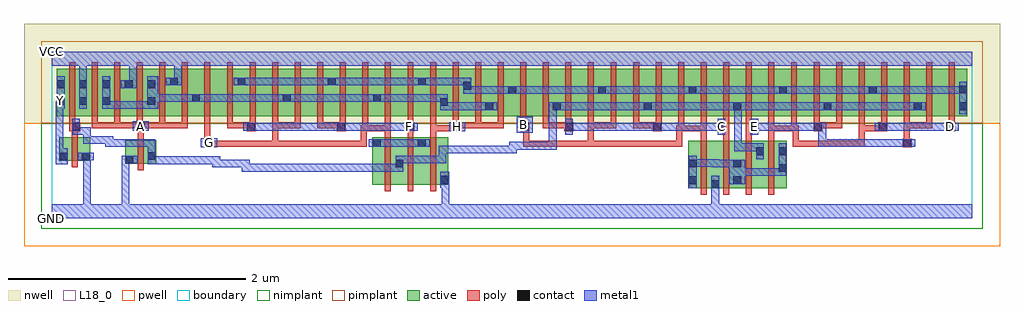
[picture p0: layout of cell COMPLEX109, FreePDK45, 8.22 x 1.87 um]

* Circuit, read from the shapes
.subckt COMPLEX109 A B C D E F G GND H VCC Y
M1 GND n1 Y VSUBS nfet w=0.2u l=0.05u
M2 n1 A GND VSUBS nfet w=0.2u l=0.05u
M3 n1 G n2 VSUBS nfet w=0.4u l=0.05u
M4 n2 F n1 VSUBS nfet w=0.4u l=0.05u
M5 GND H n2 VSUBS nfet w=0.4u l=0.05u
M6 GND B n3 VSUBS nfet w=0.4u l=0.05u
M7 n3 C GND VSUBS nfet w=0.4u l=0.05u
M8 n1 E n3 VSUBS nfet w=0.4u l=0.05u
M9 n3 D n1 VSUBS nfet w=0.4u l=0.05u
M10 VCC n1 Y n4 pfet w=0.4u l=0.05u
M11 n5 A VCC n4 pfet w=0.4u l=0.05u m=5
M12 n6 G n5 n4 pfet w=0.4u l=0.05u
M13 n7 F n6 n4 pfet w=0.4u l=0.05u
M14 n8 F n7 n4 pfet w=0.4u l=0.05u
M15 n5 G n8 n4 pfet w=0.4u l=0.05u
M16 n9 G n5 n4 pfet w=0.4u l=0.05u
M17 n7 F n9 n4 pfet w=0.4u l=0.05u
M18 n10 F n7 n4 pfet w=0.4u l=0.05u
M19 n5 G n10 n4 pfet w=0.4u l=0.05u
M20 n11 G n5 n4 pfet w=0.4u l=0.05u
M21 n7 F n11 n4 pfet w=0.4u l=0.05u
M22 n5 H n7 n4 pfet w=0.4u l=0.05u m=4
M23 n12 B n7 n4 pfet w=0.4u l=0.05u
M24 n1 C n12 n4 pfet w=0.4u l=0.05u
M25 n13 C n1 n4 pfet w=0.4u l=0.05u
M26 n7 B n13 n4 pfet w=0.4u l=0.05u
M27 n14 B n7 n4 pfet w=0.4u l=0.05u
M28 n1 C n14 n4 pfet w=0.4u l=0.05u
M29 n15 C n1 n4 pfet w=0.4u l=0.05u
M30 n7 B n15 n4 pfet w=0.4u l=0.05u
M31 n16 B n7 n4 pfet w=0.4u l=0.05u
M32 n1 C n16 n4 pfet w=0.4u l=0.05u
M33 n17 E n1 n4 pfet w=0.4u l=0.05u
M34 n7 D n17 n4 pfet w=0.4u l=0.05u
M35 n18 D n7 n4 pfet w=0.4u l=0.05u
M36 n1 E n18 n4 pfet w=0.4u l=0.05u
M37 n19 E n1 n4 pfet w=0.4u l=0.05u
M38 n7 D n19 n4 pfet w=0.4u l=0.05u
M39 n20 D n7 n4 pfet w=0.4u l=0.05u
M40 n1 E n20 n4 pfet w=0.4u l=0.05u
M41 n21 E n1 n4 pfet w=0.4u l=0.05u
M42 n7 D n21 n4 pfet w=0.4u l=0.05u
.ends

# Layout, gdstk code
import gdstk
lib = gdstk.Library(unit=1e-6, precision=1e-09)
def R(c, l, rs):  # rectangles x0, y0, x1, y1
    for r in rs: c.add(gdstk.rectangle(r[:2], r[2:], *l))
def A(c, l, x, y, w, h, nx, ny, dx, dy):  # array of equal rectangles
    R(c, l, [(x+i*dx, y+j*dy, x+i*dx+w, y+j*dy+h) for i in range(nx) for j in range(ny)])
active = (1, 0)
pwell = (2, 0)
nwell = (3, 0)
nimplant = (4, 0)
pimplant = (5, 0)
poly = (9, 0)
contact = (10, 0)
metal1 = (11, 0)
L18_0 = (18, 0)
boundary = (235, 0)

complex109 = lib.new_cell('COMPLEX109')
A(complex109, active, 0.04, 0.857, 0.075, 0.343, 3, 1, 0.38, 0)
A(complex109, active, 0.42, 0.857, 0.265, 0.4, 3, 1, 0.19, 0)
A(complex109, active, 1.405, 0.857, 0.23, 0.4, 5, 1, 0.38, 0)
A(complex109, active, 1.56, 0.857, 0.075, 0.343, 3, 1, 0.76, 0)
A(complex109, active, 1.56, 0.857, 0.225, 0.4, 4, 1, 0.38, 0)
A(complex109, active, 5.735, 0.857, 0.075, 0.213, 3, 1, 0.76, 0)
A(complex109, active, 6.345, 0.857, 0.225, 0.4, 4, 1, 0.38, 0)
A(complex109, active, 6.495, 0.857, 0.23, 0.4, 3, 1, 0.38, 0)
R(complex109, active, [(5.36,0.25,5.625,0.65), (5.55,0.25,5.81,0.65), (5.55,0.25,5.625,0.492), (5.735,0.25,6,0.65), (5.925,0.25,6.19,0.65), (5.36,0.28,5.435,0.65), (5.735,0.28,5.81,0.597), (2.7,0.282,2.965,0.682), (2.89,0.282,3.152,0.682), (3.077,0.282,3.34,0.682), (3.265,0.282,3.34,0.605), (6.115,0.315,6.19,0.65), (2.7,0.33,2.775,0.682), (3.077,0.33,3.152,0.67), (5.925,0.33,6,0.62), (2.89,0.345,2.965,0.597), (0.617,0.457,0.692,0.657), (0.617,0.457,0.877,0.657), (0.802,0.457,0.877,0.657), (0.062,0.482,0.137,0.682), (0.062,0.482,0.322,0.682), (0.247,0.482,0.322,0.682), (0.04,0.857,0.3,1.257), (0.225,0.857,0.495,1.257), (0.225,0.857,0.3,1.255), (0.61,0.857,0.685,1.255), (0.99,0.857,1.25,1.257), (0.99,0.857,1.065,1.255), (1.175,0.857,1.25,1.2), (1.175,0.857,1.405,1.257), (1.94,0.857,2.015,1.07), (2.7,0.857,2.775,1.07), (3.08,0.857,3.34,1.257), (3.265,0.857,3.34,1.07), (3.265,0.857,3.535,1.257), (3.46,0.857,3.72,1.257), (3.46,0.857,3.535,1.2), (3.645,0.857,3.72,1.07), (3.645,0.857,3.915,1.257), (3.84,0.857,3.915,1.2), (3.84,0.857,4.065,1.257), (4.065,0.857,4.29,1.257), (4.215,0.857,4.445,1.257), (4.215,0.857,4.29,1.07), (4.445,0.857,4.67,1.257), (4.595,0.857,4.67,1.2), (4.595,0.857,4.825,1.257), (4.825,0.857,5.055,1.257), (4.98,0.857,5.205,1.257), (4.98,0.857,5.055,1.07), (5.205,0.857,5.432,1.257), (5.357,0.857,5.432,1.2), (5.357,0.857,5.585,1.257), (5.585,0.857,5.81,1.257), (5.735,0.857,5.965,1.257), (5.965,0.857,6.195,1.257), (6.12,0.857,6.195,1.2), (6.12,0.857,6.345,1.257), (6.875,0.857,6.95,1.2), (7.635,0.857,7.71,1.2)])
R(complex109, pwell, [(-0.235,-0.235,7.985,0.8)])
R(complex109, nwell, [(-0.235,0.8,7.985,1.635)])
R(complex109, nimplant, [(-0.09,-0.09,7.84,0.8)])
R(complex109, pimplant, [(-0.09,0.8,7.84,1.49)])
A(complex109, poly, 5.465, 0.195, 0.05, 0.51, 4, 1, 0.19, 0)
A(complex109, poly, 2.805, 0.227, 0.05, 0.51, 3, 1, 0.19, 0)
A(complex109, poly, 2.805, 0.687, 0.05, 0.095, 3, 1, 0.19, 0)
A(complex109, poly, 0.145, 0.757, 0.05, 0.095, 6, 1, 0.19, 0)
A(complex109, poly, 1.475, 0.757, 0.05, 0.095, 6, 1, 0.19, 0)
A(complex109, poly, 3.375, 0.757, 0.05, 0.095, 10, 1, 0.19, 0)
A(complex109, poly, 4.515, 0.757, 0.05, 0.05, 3, 1, 0.19, 0)
A(complex109, poly, 6.985, 0.757, 0.05, 0.095, 4, 1, 0.19, 0)
A(complex109, poly, 0.145, 0.802, 0.05, 0.51, 40, 1, 0.19, 0)
R(complex109, poly, [(0.722,0.402,0.772,0.712), (0.167,0.427,0.217,0.737), (7.167,0.595,7.242,0.67), (1.285,0.6,1.36,0.675), (1.31,0.6,1.36,0.65), (1.31,0.6,1.36,0.65), (1.31,0.6,1.36,0.65), (1.31,0.6,1.36,0.65), (1.31,0.6,1.36,0.65), (1.31,0.6,1.36,0.65), (1.31,0.6,1.557,0.65), (1.507,0.6,1.557,0.65), (1.507,0.6,1.557,0.65), (1.507,0.6,1.557,0.65), (1.507,0.6,1.772,0.65), (1.722,0.6,1.772,0.65), (1.722,0.6,1.905,0.65), (1.855,0.6,1.905,0.65), (1.855,0.6,1.905,0.65), (1.855,0.6,1.905,0.65), (1.855,0.6,1.905,0.807), (1.855,0.6,2.052,0.65), (2.002,0.6,2.052,0.65), (2.002,0.6,2.052,0.65), (2.002,0.6,2.052,0.65), (2.002,0.6,2.185,0.65), (2.135,0.6,2.185,0.65), (2.135,0.6,2.317,0.65), (2.267,0.6,2.317,0.65), (2.267,0.6,2.317,0.65), (2.267,0.6,2.317,0.65), (2.267,0.6,2.45,0.65), (2.4,0.6,2.45,0.65), (2.4,0.6,2.65,0.65), (2.6,0.6,2.65,0.65), (2.6,0.6,2.65,0.65), (2.6,0.6,2.65,0.65), (2.6,0.6,2.65,0.65), (2.6,0.6,2.65,0.65), (2.6,0.6,2.65,0.782), (3.97,0.6,4.02,0.65), (3.97,0.6,4.02,0.65), (3.97,0.6,4.02,0.65), (3.97,0.6,4.02,0.782), (3.97,0.6,4.235,0.65), (4.185,0.6,4.235,0.65), (4.185,0.6,4.235,0.65), (4.185,0.6,4.235,0.65), (4.185,0.6,4.432,0.65), (4.382,0.6,4.432,0.65), (4.382,0.6,4.432,0.65), (4.382,0.6,4.432,0.65), (4.382,0.6,4.565,0.65), (4.515,0.6,4.565,0.65), (4.515,0.6,4.565,0.65), (4.515,0.6,4.565,0.65), (4.515,0.6,4.697,0.65), (4.515,0.6,4.565,0.807), (4.647,0.6,4.697,0.65), (4.647,0.6,4.697,0.65), (4.647,0.6,4.697,0.65), (4.647,0.6,4.977,0.65), (4.927,0.6,4.977,0.65), (4.927,0.6,5.11,0.65), (5.06,0.6,5.11,0.65), (5.06,0.6,5.11,0.65), (5.06,0.6,5.11,0.65), (5.06,0.6,5.31,0.65), (5.26,0.6,5.31,0.65), (5.26,0.6,5.31,0.65), (5.26,0.6,5.31,0.65), (5.26,0.6,5.31,0.78), (6.24,0.6,6.29,0.65), (6.24,0.6,6.29,0.65), (6.24,0.6,6.29,0.65), (6.24,0.6,6.29,0.65), (6.24,0.6,6.29,0.65), (6.24,0.6,6.422,0.65), (6.24,0.6,6.29,0.78), (6.372,0.6,6.422,0.65), (6.372,0.6,6.622,0.65), (6.572,0.6,6.622,0.65), (6.572,0.6,6.622,0.65), (6.572,0.6,6.622,0.65), (6.572,0.6,6.845,0.65), (6.795,0.6,6.845,0.65), (6.795,0.6,6.845,0.65), (6.795,0.6,6.845,0.65), (6.795,0.6,6.845,0.782), (7.175,0.62,7.225,0.807), (1.285,0.625,1.335,0.852), (5.465,0.655,5.515,0.78), (5.655,0.655,5.705,0.782), (5.845,0.655,5.895,0.782), (6.035,0.655,6.085,0.78), (0.722,0.662,0.772,0.782), (0.167,0.687,0.217,0.782), (5.26,0.73,5.31,0.78), (5.26,0.73,5.31,0.78), (5.26,0.73,5.325,0.78), (5.275,0.73,5.515,0.78), (5.275,0.73,5.325,0.852), (5.465,0.73,5.515,0.78), (5.465,0.73,5.515,0.78), (5.465,0.73,5.515,0.78), (5.465,0.73,5.515,0.852), (6.035,0.73,6.085,0.78), (6.035,0.73,6.085,0.78), (6.035,0.73,6.085,0.78), (6.035,0.73,6.275,0.78), (6.035,0.73,6.085,0.852), (6.225,0.73,6.275,0.852), (6.225,0.73,6.29,0.78), (0.145,0.732,0.24,0.807), (0.712,0.732,0.787,0.807), (1.64,0.732,1.715,0.807), (2.4,0.732,2.475,0.807), (2.6,0.732,2.665,0.782), (2.615,0.732,2.855,0.782), (2.615,0.732,2.665,0.852), (2.805,0.732,2.855,0.782), (2.805,0.732,2.855,0.782), (2.805,0.732,2.855,0.782), (2.805,0.732,2.855,0.852), (2.977,0.732,3.052,0.807), (3.185,0.732,3.235,0.782), (3.185,0.732,3.235,0.852), (3.185,0.732,3.255,0.782), (3.205,0.732,3.255,0.782), (3.205,0.732,3.425,0.782), (3.375,0.732,3.45,0.807), (3.945,0.732,4.02,0.807), (3.97,0.732,4.02,0.782), (3.97,0.732,4.02,0.782), (4.317,0.732,4.392,0.807), (5.06,0.732,5.135,0.807), (5.602,0.732,5.705,0.807), (5.845,0.732,5.952,0.807), (6.415,0.732,6.49,0.807), (6.795,0.732,6.845,0.782), (6.795,0.732,6.845,0.782), (6.795,0.732,6.845,0.782), (6.795,0.732,7.01,0.782), (6.795,0.732,6.845,0.852), (6.96,0.732,7.035,0.807), (6.96,0.732,7.01,0.782), (6.96,0.732,7.01,0.782), (7.532,0.732,7.607,0.807), (0.335,0.757,0.385,0.807), (0.335,0.757,0.385,0.807), (0.335,0.757,0.385,0.807), (0.335,0.757,0.575,0.807), (0.525,0.757,0.575,0.807), (0.525,0.757,0.575,0.807), (0.525,0.757,0.575,0.807), (0.525,0.757,0.762,0.807), (0.737,0.757,0.787,0.807), (0.737,0.757,0.787,0.807), (0.737,0.757,0.955,0.807), (0.905,0.757,0.955,0.807), (0.905,0.757,1.145,0.807), (1.095,0.757,1.145,0.807), (1.095,0.757,1.145,0.807), (1.095,0.757,1.145,0.807), (1.475,0.757,1.525,0.807), (1.475,0.757,1.69,0.807), (1.64,0.757,1.69,0.807), (1.64,0.757,1.69,0.807), (1.855,0.757,1.905,0.807), (1.855,0.757,1.905,0.807), (1.855,0.757,1.905,0.807), (1.855,0.757,2.037,0.807), (1.987,0.757,2.037,0.807), (1.987,0.757,2.095,0.807), (2.045,0.757,2.095,0.807), (2.235,0.757,2.285,0.807), (2.235,0.757,2.45,0.807), (2.4,0.757,2.45,0.807), (2.4,0.757,2.45,0.807), (2.995,0.757,3.045,0.852), (3.4,0.757,3.45,0.807), (3.4,0.757,3.45,0.807), (3.4,0.757,3.615,0.807), (3.565,0.757,3.615,0.807), (3.565,0.757,3.805,0.807), (3.755,0.757,3.805,0.807), (3.755,0.757,3.805,0.807), (3.755,0.757,3.805,0.807), (4.135,0.757,4.185,0.807), (4.135,0.757,4.185,0.807), (4.135,0.757,4.185,0.807), (4.135,0.757,4.367,0.807), (4.515,0.757,4.565,0.807), (4.515,0.757,4.565,0.807), (4.515,0.757,4.565,0.807), (4.515,0.757,4.565,0.807), (4.515,0.757,4.755,0.807), (4.895,0.757,5.11,0.807), (5.06,0.757,5.11,0.807), (5.06,0.757,5.11,0.807), (5.655,0.757,5.705,0.852), (5.845,0.757,5.895,0.852), (6.415,0.757,6.465,0.852), (6.44,0.757,6.49,0.807), (6.44,0.757,6.49,0.807), (6.44,0.757,6.655,0.807), (6.605,0.757,6.655,0.852), (6.605,0.757,6.655,0.807), (7.175,0.757,7.225,0.807), (7.175,0.757,7.225,0.807), (7.175,0.757,7.225,0.807), (7.175,0.757,7.415,0.807), (7.365,0.757,7.415,0.807), (7.365,0.757,7.415,0.807), (7.365,0.757,7.415,0.807)])
A(complex109, contact, 5.74, 0.91, 0.065, 0.065, 3, 1, 0.76, 0)
A(complex109, contact, 0.425, 1.095, 0.065, 0.065, 3, 1, 0.19, 0)
A(complex109, contact, 1.565, 1.117, 0.065, 0.065, 3, 1, 0.76, 0)
R(complex109, contact, [(5.555,0.255,5.62,0.32), (5.365,0.287,5.43,0.352), (5.74,0.287,5.805,0.352), (3.27,0.29,3.335,0.355), (6.12,0.39,6.185,0.455), (2.895,0.427,2.96,0.492), (5.365,0.427,5.43,0.492), (5.74,0.427,5.805,0.492), (0.622,0.462,0.687,0.527), (0.067,0.487,0.132,0.552), (0.252,0.487,0.317,0.552), (0.807,0.49,0.872,0.555), (5.93,0.53,5.995,0.595), (6.12,0.53,6.185,0.595), (2.705,0.6,2.77,0.665), (3.082,0.6,3.147,0.665), (7.172,0.6,7.237,0.665), (1.29,0.605,1.355,0.67), (0.17,0.737,0.235,0.802), (0.717,0.737,0.782,0.802), (1.645,0.737,1.71,0.802), (2.405,0.737,2.47,0.802), (2.982,0.737,3.047,0.802), (3.38,0.737,3.445,0.802), (3.95,0.737,4.015,0.802), (4.322,0.737,4.387,0.802), (5.065,0.737,5.13,0.802), (5.607,0.737,5.672,0.802), (5.882,0.737,5.947,0.802), (6.42,0.737,6.485,0.802), (6.965,0.737,7.03,0.802), (7.537,0.737,7.602,0.802), (3.65,0.91,3.715,0.975), (4.22,0.91,4.285,0.975), (4.985,0.91,5.05,0.975), (7.64,0.91,7.705,0.975), (3.27,0.945,3.335,1.01), (0.045,0.955,0.11,1.02), (0.23,0.955,0.295,1.02), (0.425,0.955,0.49,1.02), (0.805,0.955,0.87,1.02), (1.18,0.98,1.245,1.045), (1.945,0.98,2.01,1.045), (2.705,0.98,2.77,1.045), (3.845,1.047,3.91,1.112), (4.6,1.047,4.665,1.112), (5.362,1.047,5.427,1.112), (6.125,1.047,6.19,1.112), (6.88,1.047,6.945,1.112), (7.64,1.05,7.705,1.115), (3.465,1.082,3.53,1.147), (0.045,1.095,0.11,1.16), (0.23,1.095,0.295,1.16), (0.995,1.117,1.06,1.182)])
A(complex109, metal1, 5.705, 0.91, 0.135, 0.065, 3, 1, 0.76, 0)
A(complex109, metal1, 1.53, 1.117, 0.135, 0.065, 3, 1, 0.76, 0)
R(complex109, metal1, [(0,0,7.75,0.115), (0.262,0.05,0.327,0.115), (0.262,0.05,0.327,0.115), (0.262,0.05,0.327,0.115), (0.262,0.05,0.327,0.115), (0.262,0.05,0.327,0.115), (0.262,0.05,0.327,0.115), (0.262,0.05,0.327,0.552), (0.587,0.05,0.652,0.115), (0.587,0.05,0.652,0.115), (0.587,0.05,0.652,0.115), (0.587,0.05,0.652,0.115), (0.587,0.05,0.652,0.527), (3.282,0.05,3.347,0.115), (3.282,0.05,3.347,0.115), (3.282,0.05,3.347,0.32), (5.555,0.05,5.62,0.115), (5.555,0.05,5.62,0.115), (5.555,0.05,5.62,0.285), (5.555,0.22,5.62,0.355), (5.555,0.22,5.62,0.317), (5.365,0.252,5.43,0.527), (5.555,0.252,5.62,0.317), (3.27,0.255,3.347,0.39), (3.282,0.255,3.347,0.32), (3.282,0.255,3.347,0.32), (5.705,0.287,5.84,0.492), (6.12,0.355,6.185,0.63), (5.775,0.357,5.977,0.422), (5.912,0.357,5.977,0.422), (5.912,0.357,5.977,0.422), (5.912,0.357,5.977,0.422), (5.912,0.357,6.132,0.422), (6.067,0.357,6.132,0.422), (6.067,0.357,6.185,0.422), (1.6,0.392,1.665,0.457), (1.6,0.392,1.675,0.457), (1.6,0.392,1.665,0.492), (1.61,0.392,1.675,0.457), (1.61,0.392,1.802,0.457), (1.737,0.392,1.802,0.457), (1.737,0.392,1.942,0.457), (1.877,0.392,1.942,0.457), (1.877,0.392,1.975,0.457), (1.91,0.392,1.975,0.457), (1.91,0.392,2.08,0.457), (2.015,0.392,2.08,0.457), (2.015,0.392,2.217,0.457), (2.152,0.392,2.217,0.457), (2.152,0.392,2.217,0.457), (2.152,0.392,2.217,0.457), (2.152,0.392,2.425,0.457), (2.36,0.392,2.425,0.457), (2.36,0.392,2.505,0.457), (2.44,0.392,2.505,0.457), (2.44,0.392,2.572,0.457), (2.507,0.392,2.572,0.457), (2.507,0.392,2.642,0.457), (2.577,0.392,2.642,0.457), (2.577,0.392,2.805,0.457), (2.74,0.392,2.805,0.457), (2.74,0.392,2.805,0.457), (2.74,0.392,2.805,0.457), (2.74,0.392,2.96,0.457), (2.895,0.392,2.96,0.527), (1.352,0.427,1.537,0.492), (1.352,0.427,1.417,0.52), (1.472,0.427,1.537,0.492), (1.472,0.427,1.665,0.492), (1.6,0.427,1.665,0.492), (5.555,0.427,5.77,0.492), (5.555,0.427,5.62,0.497), (5.705,0.427,5.77,0.492), (5.705,0.427,5.77,0.492), (5.365,0.432,5.447,0.497), (5.382,0.432,5.447,0.497), (5.382,0.432,5.62,0.497), (0.032,0.452,0.132,0.587), (0.807,0.455,0.895,0.52), (0.807,0.455,0.872,0.665), (0.83,0.455,0.895,0.52), (0.83,0.455,1.032,0.52), (0.967,0.455,1.032,0.52), (0.967,0.455,1.032,0.52), (0.967,0.455,1.032,0.52), (0.967,0.455,1.28,0.52), (1.215,0.455,1.28,0.52), (1.215,0.455,1.28,0.52), (1.215,0.455,1.28,0.52), (1.215,0.455,1.417,0.52), (1.352,0.455,1.417,0.52), (1.352,0.455,1.417,0.52), (0.587,0.462,0.652,0.527), (0.587,0.462,0.652,0.527), (0.587,0.462,0.652,0.527), (0.587,0.462,0.652,0.527), (0.587,0.462,0.722,0.527), (2.895,0.462,3.072,0.527), (3.007,0.462,3.072,0.527), (3.007,0.462,3.11,0.527), (3.045,0.462,3.11,0.527), (3.045,0.462,3.21,0.527), (3.145,0.462,3.21,0.527), (3.145,0.462,3.322,0.527), (3.257,0.462,3.322,0.61), (0.217,0.487,0.352,0.552), (0.262,0.487,0.327,0.552), (0.262,0.487,0.327,0.552), (5.93,0.495,5.995,0.63), (0.032,0.522,0.097,0.587), (0.032,0.522,0.097,0.587), (0.032,0.522,0.097,0.985), (3.257,0.545,3.457,0.61), (3.392,0.545,3.457,0.61), (3.392,0.545,3.53,0.61), (3.465,0.545,3.53,0.61), (3.465,0.545,3.53,0.61), (3.465,0.545,3.53,0.61), (3.465,0.545,3.595,0.61), (3.53,0.545,3.595,0.61), (3.53,0.545,3.667,0.61), (3.602,0.545,3.667,0.61), (3.602,0.545,3.777,0.61), (3.712,0.545,3.777,0.61), (3.712,0.545,3.915,0.61), (3.85,0.545,3.915,0.642), (5.745,0.565,5.81,0.63), (5.745,0.565,5.81,0.63), (5.745,0.565,5.81,0.63), (5.745,0.565,5.995,0.63), (5.745,0.565,5.81,0.975), (5.93,0.565,5.995,0.63), (5.93,0.565,5.995,0.63), (3.85,0.577,3.915,0.642), (3.85,0.577,3.915,0.642), (3.85,0.577,4.112,0.642), (4.047,0.577,4.112,0.642), (4.047,0.577,4.112,0.642), (4.047,0.577,4.112,0.642), (4.047,0.577,4.212,0.642), (4.147,0.577,4.212,0.642), (4.147,0.577,4.25,0.642), (4.185,0.577,4.25,0.642), (4.185,0.577,4.25,0.975), (1.255,0.595,1.392,0.672), (0.45,0.6,0.697,0.665), (0.45,0.6,0.515,0.69), (0.632,0.6,0.697,0.665), (0.632,0.6,0.697,0.665), (0.632,0.6,0.697,0.665), (0.632,0.6,0.872,0.665), (2.67,0.6,2.805,0.665), (2.74,0.6,2.805,0.665), (2.74,0.6,2.805,0.665), (2.74,0.6,2.972,0.665), (2.907,0.6,2.972,0.665), (2.907,0.6,2.972,0.665), (2.907,0.6,2.972,0.665), (2.907,0.6,3.112,0.665), (3.047,0.6,3.182,0.665), (6.455,0.6,6.52,0.665), (6.455,0.6,6.667,0.665), (6.455,0.6,6.52,0.802), (6.602,0.6,6.667,0.665), (6.602,0.6,6.737,0.665), (6.672,0.6,6.737,0.665), (6.672,0.6,6.737,0.665), (6.672,0.6,6.737,0.665), (6.672,0.6,6.805,0.665), (6.74,0.6,6.805,0.665), (6.74,0.6,6.942,0.665), (6.877,0.6,6.942,0.665), (6.877,0.6,6.942,0.665), (6.877,0.6,6.942,0.665), (6.877,0.6,7.137,0.665), (7.072,0.6,7.137,0.665), (7.072,0.6,7.202,0.665), (7.137,0.6,7.272,0.665), (0.262,0.625,0.327,0.69), (0.262,0.625,0.372,0.69), (0.262,0.625,0.327,0.767), (0.307,0.625,0.372,0.69), (0.307,0.625,0.515,0.69), (0.45,0.625,0.515,0.69), (0.45,0.625,0.515,0.69), (0.17,0.702,0.235,0.837), (0.17,0.702,0.327,0.767), (0.262,0.702,0.327,0.767), (4.322,0.702,4.387,0.837), (5.607,0.702,5.672,0.837), (5.882,0.702,5.947,0.837), (3.915,0.717,4.05,0.852), (3.345,0.73,3.482,0.807), (0.682,0.737,0.817,0.815), (1.61,0.737,1.745,0.802), (1.68,0.737,1.837,0.802), (1.772,0.737,1.837,0.802), (1.772,0.737,1.942,0.802), (1.877,0.737,1.942,0.802), (1.877,0.737,2.08,0.802), (2.015,0.737,2.08,0.802), (2.015,0.737,2.08,0.802), (2.015,0.737,2.08,0.802), (2.015,0.737,2.217,0.802), (2.152,0.737,2.217,0.802), (2.152,0.737,2.297,0.802), (2.232,0.737,2.297,0.802), (2.232,0.737,2.435,0.802), (2.37,0.737,2.435,0.802), (2.37,0.737,2.435,0.802), (2.37,0.737,2.505,0.802), (2.44,0.737,2.572,0.802), (2.507,0.737,2.572,0.802), (2.507,0.737,2.642,0.802), (2.577,0.737,2.642,0.802), (2.577,0.737,2.735,0.802), (2.67,0.737,2.735,0.802), (2.67,0.737,2.78,0.802), (2.715,0.737,2.78,0.802), (2.715,0.737,2.96,0.802), (2.895,0.737,2.96,0.802), (2.895,0.737,3.012,0.802), (2.947,0.737,3.082,0.802), (4.322,0.737,4.462,0.802), (4.397,0.737,4.462,0.802), (4.397,0.737,4.525,0.802), (4.46,0.737,4.525,0.802), (4.46,0.737,4.63,0.802), (4.565,0.737,4.63,0.802), (4.565,0.737,4.767,0.802), (4.702,0.737,4.767,0.802), (4.702,0.737,4.837,0.802), (4.772,0.737,4.837,0.802), (4.772,0.737,4.947,0.802), (4.882,0.737,4.947,0.802), (4.882,0.737,5.095,0.802), (5.03,0.737,5.095,0.802), (5.03,0.737,5.095,0.802), (5.03,0.737,5.165,0.802), (5.1,0.737,5.247,0.802), (5.182,0.737,5.247,0.802), (5.182,0.737,5.302,0.802), (5.237,0.737,5.302,0.802), (5.237,0.737,5.457,0.802), (5.392,0.737,5.457,0.802), (5.392,0.737,5.457,0.802), (5.392,0.737,5.457,0.802), (5.392,0.737,5.62,0.802), (5.555,0.737,5.62,0.802), (5.555,0.737,5.672,0.802), (5.882,0.737,5.977,0.802), (5.912,0.737,5.977,0.802), (5.912,0.737,6.155,0.802), (6.09,0.737,6.155,0.802), (6.09,0.737,6.155,0.802), (6.09,0.737,6.155,0.802), (6.09,0.737,6.292,0.802), (6.227,0.737,6.292,0.802), (6.227,0.737,6.382,0.802), (6.317,0.737,6.382,0.802), (6.317,0.737,6.45,0.802), (6.385,0.737,6.52,0.802), (6.455,0.737,6.52,0.802), (6.455,0.737,6.52,0.802), (6.93,0.737,7.065,0.802), (7,0.737,7.137,0.802), (7.072,0.737,7.137,0.802), (7.072,0.737,7.275,0.802), (7.21,0.737,7.275,0.802), (7.21,0.737,7.275,0.802), (7.21,0.737,7.275,0.802), (7.21,0.737,7.427,0.802), (7.362,0.737,7.427,0.802), (7.362,0.737,7.427,0.802), (7.362,0.737,7.427,0.802), (7.362,0.737,7.567,0.802), (7.502,0.737,7.637,0.802), (7.64,0.875,7.705,1.15), (3.27,0.91,3.335,1.045), (3.27,0.91,3.347,0.975), (3.282,0.91,3.347,0.975), (3.282,0.91,3.53,0.975), (3.465,0.91,3.53,0.975), (3.465,0.91,3.64,0.975), (3.575,0.91,3.64,0.975), (3.575,0.91,3.68,0.975), (3.615,0.91,3.75,0.975), (4.185,0.91,4.25,0.975), (4.185,0.91,4.25,0.975), (4.185,0.91,4.32,0.975), (4.255,0.91,4.387,0.975), (4.322,0.91,4.387,0.975), (4.322,0.91,4.457,0.975), (4.392,0.91,4.457,0.975), (4.392,0.91,4.63,0.975), (4.565,0.91,4.63,0.975), (4.565,0.91,4.63,0.975), (4.565,0.91,4.63,0.975), (4.565,0.91,4.767,0.975), (4.702,0.91,4.767,0.975), (4.702,0.91,4.837,0.975), (4.772,0.91,4.837,0.975), (4.772,0.91,4.947,0.975), (4.882,0.91,4.947,0.975), (4.882,0.91,5.015,0.975), (4.95,0.91,5.085,0.975), (5.02,0.91,5.085,0.975), (5.02,0.91,5.085,0.975), (5.02,0.91,5.247,0.975), (5.182,0.91,5.247,0.975), (5.182,0.91,5.302,0.975), (5.237,0.91,5.302,0.975), (5.237,0.91,5.482,0.975), (5.417,0.91,5.482,0.975), (5.417,0.91,5.482,0.975), (5.417,0.91,5.482,0.975), (5.417,0.91,5.62,0.975), (5.555,0.91,5.62,0.975), (5.555,0.91,5.62,0.975), (5.555,0.91,5.62,0.975), (5.555,0.91,5.77,0.975), (5.775,0.91,5.995,0.975), (5.93,0.91,5.995,0.975), (5.93,0.91,5.995,0.975), (5.93,0.91,5.995,0.975), (5.93,0.91,6.15,0.975), (6.085,0.91,6.15,0.975), (6.085,0.91,6.15,0.975), (6.085,0.91,6.15,0.975), (6.085,0.91,6.292,0.975), (6.227,0.91,6.292,0.975), (6.227,0.91,6.382,0.975), (6.317,0.91,6.382,0.975), (6.317,0.91,6.53,0.975), (6.465,0.91,6.53,0.975), (6.465,0.91,6.53,0.975), (6.535,0.91,6.667,0.975), (6.602,0.91,6.667,0.975), (6.602,0.91,6.755,0.975), (6.69,0.91,6.755,0.975), (6.69,0.91,6.805,0.975), (6.74,0.91,6.805,0.975), (6.74,0.91,7,0.975), (6.935,0.91,7,0.975), (6.935,0.91,7,0.975), (6.935,0.91,7,0.975), (6.935,0.91,7.137,0.975), (7.072,0.91,7.137,0.975), (7.072,0.91,7.29,0.975), (7.225,0.91,7.29,0.975), (7.225,0.91,7.29,0.975), (0.032,0.92,0.097,0.985), (0.032,0.92,0.097,0.985), (0.032,0.92,0.107,0.985), (0.042,0.92,0.107,0.985), (0.042,0.92,0.11,1.195), (0.23,0.92,0.295,1.195), (0.425,0.92,0.49,1.195), (0.425,0.92,0.51,0.985), (0.445,0.92,0.51,0.985), (0.445,0.92,0.697,0.985), (0.632,0.92,0.697,0.985), (0.632,0.92,0.757,0.985), (0.692,0.92,0.757,0.985), (0.692,0.92,0.87,0.985), (0.805,0.92,0.895,1.195), (0.83,0.98,0.895,1.045), (0.83,0.98,0.895,1.045), (0.83,0.98,1.032,1.045), (0.967,0.98,1.032,1.045), (0.967,0.98,1.032,1.045), (0.967,0.98,1.032,1.045), (0.967,0.98,1.21,1.045), (1.145,0.98,1.28,1.045), (1.215,0.98,1.28,1.045), (1.215,0.98,1.28,1.045), (1.215,0.98,1.457,1.045), (1.392,0.98,1.457,1.045), (1.392,0.98,1.457,1.045), (1.392,0.98,1.457,1.045), (1.392,0.98,1.665,1.045), (1.6,0.98,1.665,1.045), (1.6,0.98,1.7,1.045), (1.635,0.98,1.7,1.045), (1.635,0.98,1.837,1.045), (1.772,0.98,1.837,1.045), (1.772,0.98,1.902,1.045), (1.837,0.98,1.902,1.045), (1.837,0.98,1.975,1.045), (1.91,0.98,2.045,1.045), (1.98,0.98,2.08,1.045), (2.015,0.98,2.08,1.045), (2.015,0.98,2.217,1.045), (2.152,0.98,2.217,1.045), (2.152,0.98,2.297,1.045), (2.232,0.98,2.297,1.045), (2.232,0.98,2.405,1.045), (2.34,0.98,2.405,1.045), (2.34,0.98,2.505,1.045), (2.44,0.98,2.505,1.045), (2.44,0.98,2.572,1.045), (2.507,0.98,2.572,1.045), (2.507,0.98,2.642,1.045), (2.577,0.98,2.642,1.045), (2.577,0.98,2.735,1.045), (2.67,0.98,2.805,1.045), (2.74,0.98,2.805,1.045), (2.74,0.98,2.805,1.045), (2.74,0.98,2.972,1.045), (2.907,0.98,2.972,1.045), (2.907,0.98,2.972,1.045), (2.907,0.98,2.972,1.045), (2.907,0.98,3.185,1.045), (3.12,0.98,3.185,1.045), (3.12,0.98,3.21,1.045), (3.145,0.98,3.21,1.045), (3.145,0.98,3.335,1.045), (3.465,1.047,3.595,1.112), (3.465,1.047,3.53,1.182), (3.53,1.047,3.595,1.112), (3.53,1.047,3.737,1.112), (3.672,1.047,3.737,1.112), (3.672,1.047,3.777,1.112), (3.712,1.047,3.777,1.112), (3.712,1.047,3.875,1.112), (3.81,1.047,3.945,1.112), (3.88,1.047,3.945,1.112), (3.88,1.047,3.945,1.112), (3.88,1.047,4.082,1.112), (4.017,1.047,4.082,1.112), (4.017,1.047,4.182,1.112), (4.117,1.047,4.182,1.112), (4.117,1.047,4.25,1.112), (4.185,1.047,4.25,1.112), (4.185,1.047,4.387,1.112), (4.322,1.047,4.387,1.112), (4.322,1.047,4.457,1.112), (4.392,1.047,4.457,1.112), (4.392,1.047,4.63,1.112), (4.565,1.047,4.63,1.112), (4.565,1.047,4.63,1.112), (4.565,1.047,4.7,1.112), (4.635,1.047,4.767,1.112), (4.702,1.047,4.767,1.112), (4.702,1.047,4.837,1.112), (4.772,1.047,4.837,1.112), (4.772,1.047,4.947,1.112), (4.882,1.047,4.947,1.112), (4.882,1.047,5.085,1.112), (5.02,1.047,5.085,1.112), (5.02,1.047,5.085,1.112), (5.02,1.047,5.085,1.112), (5.02,1.047,5.247,1.112), (5.182,1.047,5.247,1.112), (5.182,1.047,5.31,1.112), (5.245,1.047,5.31,1.112), (5.245,1.047,5.392,1.112), (5.327,1.047,5.462,1.112), (5.397,1.047,5.462,1.112), (5.397,1.047,5.462,1.112), (5.397,1.047,5.62,1.112), (5.555,1.047,5.62,1.112), (5.555,1.047,5.62,1.112), (5.555,1.047,5.62,1.112), (5.555,1.047,5.77,1.112), (5.705,1.047,5.77,1.112), (5.705,1.047,5.992,1.112), (5.927,1.047,5.992,1.112), (5.927,1.047,5.992,1.112), (5.927,1.047,5.992,1.112), (5.927,1.047,6.155,1.112), (6.09,1.047,6.155,1.112), (6.09,1.047,6.155,1.112), (6.09,1.047,6.225,1.112), (6.16,1.047,6.292,1.112), (6.227,1.047,6.292,1.112), (6.227,1.047,6.382,1.112), (6.317,1.047,6.382,1.112), (6.317,1.047,6.527,1.112), (6.462,1.047,6.527,1.112), (6.462,1.047,6.527,1.112), (6.462,1.047,6.527,1.112), (6.462,1.047,6.667,1.112), (6.602,1.047,6.667,1.112), (6.602,1.047,6.755,1.112), (6.69,1.047,6.755,1.112), (6.69,1.047,6.805,1.112), (6.74,1.047,6.805,1.112), (6.74,1.047,6.91,1.112), (6.845,1.047,6.98,1.112), (6.915,1.047,6.98,1.112), (6.915,1.047,6.98,1.112), (6.915,1.047,7.137,1.112), (7.072,1.047,7.137,1.112), (7.072,1.047,7.275,1.112), (7.21,1.047,7.275,1.112), (7.21,1.047,7.275,1.112), (7.21,1.047,7.275,1.112), (7.21,1.047,7.427,1.112), (7.362,1.047,7.427,1.112), (7.362,1.047,7.427,1.112), (7.362,1.047,7.427,1.112), (7.362,1.047,7.705,1.112), (7.64,1.047,7.705,1.112), (7.64,1.047,7.705,1.112), (0.58,1.095,0.715,1.16), (0.65,1.095,0.715,1.35), (0.96,1.117,1.095,1.182), (1.03,1.117,1.095,1.35), (1.6,1.117,1.675,1.182), (1.61,1.117,1.675,1.182), (1.61,1.117,1.837,1.182), (1.772,1.117,1.837,1.182), (1.772,1.117,1.882,1.182), (1.817,1.117,1.882,1.182), (1.817,1.117,1.975,1.182), (1.91,1.117,1.975,1.182), (1.91,1.117,2.08,1.182), (2.015,1.117,2.08,1.182), (2.015,1.117,2.217,1.182), (2.152,1.117,2.217,1.182), (2.152,1.117,2.217,1.182), (2.152,1.117,2.217,1.182), (2.152,1.117,2.355,1.182), (2.36,1.117,2.505,1.182), (2.44,1.117,2.505,1.182), (2.44,1.117,2.597,1.182), (2.532,1.117,2.597,1.182), (2.532,1.117,2.642,1.182), (2.577,1.117,2.642,1.182), (2.577,1.117,2.78,1.182), (2.715,1.117,2.78,1.182), (2.715,1.117,2.78,1.182), (2.715,1.117,2.78,1.182), (2.715,1.117,2.96,1.182), (2.895,1.117,2.96,1.182), (2.895,1.117,3.072,1.182), (3.007,1.117,3.072,1.182), (3.007,1.117,3.115,1.182), (3.12,1.117,3.21,1.182), (3.145,1.117,3.21,1.182), (3.145,1.117,3.38,1.182), (3.315,1.117,3.38,1.182), (3.315,1.117,3.457,1.182), (3.392,1.117,3.457,1.182), (3.392,1.117,3.53,1.182), (0.23,1.13,0.295,1.35), (0,1.285,7.75,1.4)])
R(complex109, L18_0, [(0,0,7.75,0.115), (0.262,0.05,0.327,0.115), (0.262,0.05,0.327,0.115), (0.262,0.05,0.327,0.115), (0.262,0.05,0.327,0.115), (0.262,0.05,0.327,0.115), (0.262,0.05,0.327,0.115), (0.262,0.05,0.327,0.552), (0.587,0.05,0.652,0.115), (0.587,0.05,0.652,0.115), (0.587,0.05,0.652,0.115), (0.587,0.05,0.652,0.115), (0.587,0.05,0.652,0.527), (3.282,0.05,3.347,0.115), (3.282,0.05,3.347,0.115), (3.282,0.05,3.347,0.32), (5.555,0.05,5.62,0.115), (5.555,0.05,5.62,0.115), (5.555,0.05,5.62,0.285), (5.555,0.22,5.62,0.355), (5.555,0.22,5.62,0.317), (5.555,0.252,5.62,0.317), (3.27,0.255,3.347,0.39), (3.282,0.255,3.347,0.32), (3.282,0.255,3.347,0.32), (0.032,0.452,0.132,0.587), (0.587,0.462,0.652,0.527), (0.587,0.462,0.652,0.527), (0.587,0.462,0.652,0.527), (0.587,0.462,0.652,0.527), (0.587,0.462,0.722,0.527), (0.217,0.487,0.352,0.552), (0.262,0.487,0.327,0.552), (0.262,0.487,0.327,0.552), (0.032,0.522,0.097,0.587), (0.032,0.522,0.097,0.587), (0.032,0.522,0.097,0.985), (1.255,0.595,1.392,0.672), (6.455,0.6,6.52,0.665), (6.455,0.6,6.52,0.802), (6.455,0.6,6.667,0.665), (6.602,0.6,6.667,0.665), (6.602,0.6,6.737,0.665), (6.672,0.6,6.737,0.665), (6.672,0.6,6.737,0.665), (6.672,0.6,6.737,0.665), (6.672,0.6,6.805,0.665), (6.74,0.6,6.805,0.665), (6.74,0.6,6.942,0.665), (6.877,0.6,6.942,0.665), (6.877,0.6,6.942,0.665), (6.877,0.6,6.942,0.665), (6.877,0.6,7.137,0.665), (7.072,0.6,7.137,0.665), (7.072,0.6,7.202,0.665), (7.137,0.6,7.272,0.665), (1.292,0.602,1.357,0.667), (4.322,0.702,4.387,0.837), (5.607,0.702,5.672,0.837), (5.882,0.702,5.947,0.837), (3.915,0.717,4.05,0.852), (3.345,0.73,3.482,0.807), (0.682,0.737,0.817,0.815), (0.717,0.737,0.782,0.802), (1.61,0.737,1.745,0.802), (1.68,0.737,1.837,0.802), (1.772,0.737,1.837,0.802), (1.772,0.737,1.942,0.802), (1.877,0.737,1.942,0.802), (1.877,0.737,2.08,0.802), (2.015,0.737,2.08,0.802), (2.015,0.737,2.08,0.802), (2.015,0.737,2.08,0.802), (2.015,0.737,2.217,0.802), (2.152,0.737,2.217,0.802), (2.152,0.737,2.297,0.802), (2.232,0.737,2.297,0.802), (2.232,0.737,2.435,0.802), (2.37,0.737,2.435,0.802), (2.37,0.737,2.435,0.802), (2.37,0.737,2.505,0.802), (2.44,0.737,2.572,0.802), (2.507,0.737,2.572,0.802), (2.507,0.737,2.642,0.802), (2.577,0.737,2.642,0.802), (2.577,0.737,2.735,0.802), (2.67,0.737,2.735,0.802), (2.67,0.737,2.78,0.802), (2.715,0.737,2.78,0.802), (2.715,0.737,2.96,0.802), (2.895,0.737,2.96,0.802), (2.895,0.737,3.012,0.802), (2.947,0.737,3.082,0.802), (2.982,0.737,3.047,0.802), (4.322,0.737,4.462,0.802), (4.397,0.737,4.462,0.802), (4.397,0.737,4.525,0.802), (4.46,0.737,4.525,0.802), (4.46,0.737,4.63,0.802), (4.565,0.737,4.63,0.802), (4.565,0.737,4.767,0.802), (4.702,0.737,4.767,0.802), (4.702,0.737,4.837,0.802), (4.772,0.737,4.837,0.802), (4.772,0.737,4.947,0.802), (4.882,0.737,4.947,0.802), (4.882,0.737,5.095,0.802), (5.03,0.737,5.095,0.802), (5.03,0.737,5.095,0.802), (5.03,0.737,5.165,0.802), (5.1,0.737,5.247,0.802), (5.182,0.737,5.247,0.802), (5.182,0.737,5.302,0.802), (5.237,0.737,5.302,0.802), (5.237,0.737,5.457,0.802), (5.392,0.737,5.457,0.802), (5.392,0.737,5.457,0.802), (5.392,0.737,5.457,0.802), (5.392,0.737,5.62,0.802), (5.555,0.737,5.62,0.802), (5.555,0.737,5.672,0.802), (5.607,0.737,5.672,0.802), (5.882,0.737,5.947,0.802), (5.882,0.737,5.977,0.802), (5.912,0.737,5.977,0.802), (5.912,0.737,6.155,0.802), (6.09,0.737,6.155,0.802), (6.09,0.737,6.155,0.802), (6.09,0.737,6.155,0.802), (6.09,0.737,6.292,0.802), (6.227,0.737,6.292,0.802), (6.227,0.737,6.382,0.802), (6.317,0.737,6.382,0.802), (6.317,0.737,6.45,0.802), (6.385,0.737,6.52,0.802), (6.455,0.737,6.52,0.802), (6.455,0.737,6.52,0.802), (6.93,0.737,7.065,0.802), (7,0.737,7.137,0.802), (7.072,0.737,7.137,0.802), (7.072,0.737,7.275,0.802), (7.21,0.737,7.275,0.802), (7.21,0.737,7.275,0.802), (7.21,0.737,7.275,0.802), (7.21,0.737,7.427,0.802), (7.362,0.737,7.427,0.802), (7.362,0.737,7.427,0.802), (7.362,0.737,7.427,0.802), (7.362,0.737,7.567,0.802), (7.502,0.737,7.637,0.802), (7.537,0.737,7.602,0.802), (3.382,0.742,3.447,0.807), (3.937,0.752,4.002,0.817), (0.032,0.92,0.097,0.985), (0.032,0.92,0.097,0.985), (0.032,0.92,0.107,0.985), (0.042,0.92,0.107,0.985), (0.042,0.92,0.11,1.195), (0.23,0.92,0.295,1.195), (0.042,0.957,0.107,1.022), (0.58,1.095,0.715,1.16), (0.65,1.095,0.715,1.35), (0.96,1.117,1.095,1.182), (1.03,1.117,1.095,1.35), (0.23,1.13,0.295,1.35), (0,1.285,7.75,1.4)])
R(complex109, boundary, [(0,0,7.75,1.4)])
complex109.add(gdstk.Label('A', (0.75,0.77), layer=11, texttype=0))
complex109.add(gdstk.Label('B', (3.97,0.785), layer=11, texttype=0))
complex109.add(gdstk.Label('C', (5.64,0.77), layer=11, texttype=0))
complex109.add(gdstk.Label('D', (7.57,0.77), layer=11, texttype=0))
complex109.add(gdstk.Label('E', (5.915,0.77), layer=11, texttype=0))
complex109.add(gdstk.Label('F', (3.015,0.77), layer=11, texttype=0))
complex109.add(gdstk.Label('G', (1.325,0.635), layer=11, texttype=0))
complex109.add(gdstk.Label('H', (3.415,0.775), layer=11, texttype=0))
complex109.add(gdstk.Label('Y', (0.075,0.99), layer=11, texttype=0))
complex109.add(gdstk.Label('VCC', (0,1.4), layer=11, texttype=0))
complex109.add(gdstk.Label('GND', (0,0), layer=11, texttype=0))

lib.write_gds('COMPLEX109.gds')
